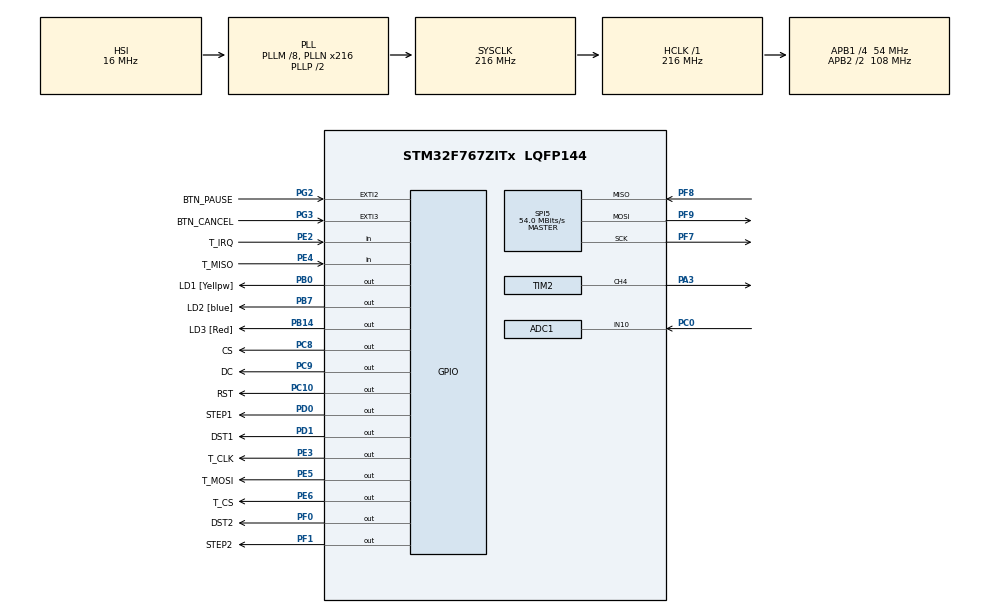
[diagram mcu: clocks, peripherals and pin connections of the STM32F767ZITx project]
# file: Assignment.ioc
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ADC1.Channel-0\#ChannelRegularConversion=ADC_CHANNEL_10
ADC1.ContinuousConvMode=ENABLE
ADC1.EOCSelection=ADC_EOC_SINGLE_CONV
ADC1.NbrOfConversionFlag=1
ADC1.Rank-0\#ChannelRegularConversion=1
ADC1.Resolution=ADC_RESOLUTION_12B
ADC1.SamplingTime-0\#ChannelRegularConversion=ADC_SAMPLETIME_480CYCLES
ADC1.master=1
CORTEX_M7.ART_ACCELERATOR_ENABLE=1
CORTEX_M7.CPU_DCache=Enabled
CORTEX_M7.CPU_ICache=Enabled
CORTEX_M7.PREFETCH_ENABLE=1
Mcu.Family=STM32F7
Mcu.Name=STM32F767ZITx
Mcu.Package=LQFP144
NVIC.ADC_IRQn=true\:0\:0\:false\:false\:true\:true\:true\:true
NVIC.EXTI2_IRQn=true\:0\:0\:false\:false\:true\:true\:true\:true
NVIC.EXTI3_IRQn=true\:0\:0\:false\:false\:true\:true\:true\:true
NVIC.PriorityGroup=NVIC_PRIORITYGROUP_4
PA3.GPIO_Speed=GPIO_SPEED_FREQ_VERY_HIGH
PA3.Signal=S_TIM2_CH4
PB0.GPIO_Label=LD1 [Yellpw]
PB0.Signal=GPIO_Output
PB14.GPIO_Label=LD3 [Red]
PB14.Signal=GPIO_Output
PB7.GPIO_Label=LD2 [blue]
PB7.Signal=GPIO_Output
PC0.Signal=ADCx_IN10
PC10.GPIO_Label=RST
PC10.GPIO_Speed=GPIO_SPEED_FREQ_VERY_HIGH
PC10.Signal=GPIO_Output
PC8.GPIO_Label=CS
PC8.GPIO_Speed=GPIO_SPEED_FREQ_VERY_HIGH
PC8.Signal=GPIO_Output
PC9.GPIO_Label=DC
PC9.GPIO_Speed=GPIO_SPEED_FREQ_VERY_HIGH
PC9.Signal=GPIO_Output
PD0.GPIO_Label=STEP1
PD0.Signal=GPIO_Output
PD1.GPIO_Label=DST1
PD1.Signal=GPIO_Output
PE2.GPIO_Label=T_IRQ
PE2.Signal=GPIO_Input
PE3.GPIO_Label=T_CLK
PE3.GPIO_Speed=GPIO_SPEED_FREQ_VERY_HIGH
PE3.Signal=GPIO_Output
PE4.GPIO_Label=T_MISO
PE4.Signal=GPIO_Input
PE5.GPIO_Label=T_MOSI
PE5.GPIO_Speed=GPIO_SPEED_FREQ_VERY_HIGH
PE5.Signal=GPIO_Output
PE6.GPIO_Label=T_CS
PE6.GPIO_Speed=GPIO_SPEED_FREQ_VERY_HIGH
PE6.Signal=GPIO_Output
PF0.GPIO_Label=DST2
PF0.Signal=GPIO_Output
PF1.GPIO_Label=STEP2
PF1.Signal=GPIO_Output
PF7.Mode=Full_Duplex_Master
PF7.Signal=SPI5_SCK
PF8.Mode=Full_Duplex_Master
PF8.Signal=SPI5_MISO
PF9.Mode=Full_Duplex_Master
PF9.Signal=SPI5_MOSI
PG2.GPIO_Label=BTN_PAUSE
PG2.GPIO_ModeDefaultEXTI=GPIO_MODE_IT_FALLING
PG2.Signal=GPXTI2
PG3.GPIO_Label=BTN_CANCEL
PG3.GPIO_ModeDefaultEXTI=GPIO_MODE_IT_FALLING
PG3.Signal=GPXTI3
ProjectManager.HeapSize=0x200
ProjectManager.StackSize=0x400
ProjectManager.TargetToolchain=STM32CubeIDE
RCC.AHBFreq_Value=216000000
RCC.APB1CLKDivider=RCC_HCLK_DIV4
RCC.APB1Freq_Value=54000000
RCC.APB1TimFreq_Value=108000000
RCC.APB2CLKDivider=RCC_HCLK_DIV2
RCC.APB2Freq_Value=108000000
RCC.APB2TimFreq_Value=216000000
RCC.CortexFreq_Value=216000000
RCC.HCLKFreq_Value=216000000
RCC.HSE_VALUE=25000000
RCC.HSI_VALUE=16000000
RCC.LSE_VALUE=32768
RCC.PLLM=8
RCC.PLLN=216
RCC.SYSCLKFreq_VALUE=216000000
RCC.SYSCLKSource=RCC_SYSCLKSOURCE_PLLCLK
RCC.USBFreq_Value=216000000
RCC.VCOOutputFreq_Value=432000000
SH.ADCx_IN10.0=ADC1_IN10,IN10
SH.S_TIM2_CH4.0=TIM2_CH4,PWM Generation4 CH4
SPI5.CalculateBaudRate=54.0 MBits/s
SPI5.DataSize=SPI_DATASIZE_8BIT
SPI5.Direction=SPI_DIRECTION_2LINES
SPI5.Mode=SPI_MODE_MASTER
SPI5.NSSPMode=SPI_NSS_PULSE_DISABLE
SPI5.VirtualType=VM_MASTER
TIM1.Prescaler=216-1
TIM2.Channel-PWM\ Generation4\ CH4=TIM_CHANNEL_4
TIM2.Period=1000-1
TIM2.Prescaler=2160-1
TIM2.Pulse-PWM\ Generation4\ CH4=0
VP_TIM1_VS_ClockSourceINT.Mode=Internal
VP_TIM2_VS_ClockSourceINT.Mode=Internal
board=custom

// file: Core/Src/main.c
/* USER CODE BEGIN Header */
/**
  ******************************************************************************
  * @file           : main.c
  * @brief          : Main program body
  ******************************************************************************
  * @attention
  *
  * Copyright (c) 2023 STMicroelectronics.
  * All rights reserved.
  *
  * This software is licensed under terms that can be found in the LICENSE file
  * in the root directory of this software component.
  * If no LICENSE file comes with this software, it is provided AS-IS.
  *
  ******************************************************************************
  */
/* USER CODE END Header */
#include "main.h"
#include "adc.h"
#include "spi.h"
#include "tim.h"
#include "gpio.h"

/* USER CODE BEGIN Includes */

#include "stdio.h"
#include "string.h"

#include "ILI9341_Touchscreen.h"
#include "ILI9341_STM32_Driver.h"
#include "ILI9341_GFX.h"

/* USER CODE END Includes */

/* USER CODE BEGIN PD */

#define STEP1_PORT GPIOD
#define STEP1_PIN GPIO_PIN_0
#define DIR1_PORT GPIOD
#define DIR1_PIN GPIO_PIN_1

#define STEP2_PORT GPIOF
#define STEP2_PIN GPIO_PIN_1
#define DIR2_PORT GPIOF
#define DIR2_PIN GPIO_PIN_0

#define mmPerStep 0.15096

uint32_t currentMillis;
uint32_t previousMillis;

uint8_t start = 0;
uint8_t ok = 0;
uint8_t cancel = 0;
uint8_t pause = 0;
uint8_t touch = 0;

int adc_val = 0;

/* USER CODE END PD */

void SystemClock_Config(void);
/* USER CODE BEGIN PFP */
int map(int, int, int, int, int);
void delayMicro(uint16_t);
void step1(int, uint8_t);
void step2(int, uint8_t);
int numpad(int, char*);
void textStatus(char*);
/* USER CODE END PFP */

/* USER CODE BEGIN 0 */
int map(int val, int in_min, int in_max, int out_min, int out_max) {
    return (val - in_min) * (out_max - out_min) / (in_max - in_min) + out_min;
}
void delayMicro(uint16_t us)
{
	__HAL_TIM_SET_COUNTER(&htim1,0);  // set the counter value a 0
	while (__HAL_TIM_GET_COUNTER(&htim1) < us);  // wait for the counter to reach the us input in the parameter
}
void step1(int steps, uint8_t direction)
{
	int stepsToTake = steps/mmPerStep;

	if (direction == 0) HAL_GPIO_WritePin(DIR1_PORT, DIR1_PIN, GPIO_PIN_SET);
	else HAL_GPIO_WritePin(DIR1_PORT, DIR1_PIN, GPIO_PIN_RESET);
	for(int i = 0; i < stepsToTake; i+=1)
	{
		if(cancel == 1) break;
		while(pause == 1);
		HAL_GPIO_WritePin(STEP1_PORT, STEP1_PIN, GPIO_PIN_SET);
		delayMicro(adc_val);
		HAL_GPIO_WritePin(STEP1_PORT, STEP1_PIN, GPIO_PIN_RESET);
		delayMicro(adc_val);
	}
}
void step2(int steps, uint8_t direction)
{
	int stepsToTake = steps;

	if (direction == 0) HAL_GPIO_WritePin(DIR2_PORT, DIR2_PIN, GPIO_PIN_SET);
	else HAL_GPIO_WritePin(DIR2_PORT, DIR2_PIN, GPIO_PIN_RESET);
	for(int i = 0; i < stepsToTake; i+=1)
	{
		if(cancel == 1) break;
		while(pause == 1);
		HAL_GPIO_WritePin(STEP2_PORT, STEP2_PIN, GPIO_PIN_SET);
		delayMicro(adc_val);
		HAL_GPIO_WritePin(STEP2_PORT, STEP2_PIN, GPIO_PIN_RESET);
		delayMicro(adc_val);
	}
}
int numpad(int val, char* title)
{
	int num = val;
	// WireLength1
	//					  ILI9341_Draw_Filled_Rectangle_Coord(15, 75, 60, 100, BLACK);
	// Container
	ILI9341_Draw_Filled_Rectangle_Coord(35, 15, 235, 230, 0xA514);
	// Title
	ILI9341_Draw_Text(title, 45, 20, BLACK, 2, 0xA514);
	// NumPad 1 2 3
	ILI9341_Draw_Hollow_Rectangle_Coord(45, 75, 103, 100, BLACK);
	ILI9341_Draw_Text("1", 71, 80, BLACK, 2, 0xA514);
	ILI9341_Draw_Hollow_Rectangle_Coord(108, 75, 166, 100, BLACK);
	ILI9341_Draw_Text("2", 133, 80, BLACK, 2, 0xA514);
	ILI9341_Draw_Hollow_Rectangle_Coord(171, 75, 224, 100, BLACK);
	ILI9341_Draw_Text("3", 194, 80, BLACK, 2, 0xA514);
	// NumPad 4 5 6
	ILI9341_Draw_Hollow_Rectangle_Coord(45, 105, 103, 130, BLACK);
	ILI9341_Draw_Text("4", 69, 110, BLACK, 2, 0xA514);
	ILI9341_Draw_Hollow_Rectangle_Coord(108, 105, 166, 130, BLACK);
	ILI9341_Draw_Text("5", 133, 110, BLACK, 2, 0xA514);
	ILI9341_Draw_Hollow_Rectangle_Coord(171, 105, 224, 130, BLACK);
	ILI9341_Draw_Text("6", 194, 110, BLACK, 2, 0xA514);
	// NumPad 7 8 9
	ILI9341_Draw_Hollow_Rectangle_Coord(45, 135, 103, 160, BLACK);
	ILI9341_Draw_Text("7", 69, 140, BLACK, 2, 0xA514);
	ILI9341_Draw_Hollow_Rectangle_Coord(108, 135, 166, 160, BLACK);
	ILI9341_Draw_Text("8", 133, 140, BLACK, 2, 0xA514);
	ILI9341_Draw_Hollow_Rectangle_Coord(171, 135, 224, 160, BLACK);
	ILI9341_Draw_Text("9", 194, 140, BLACK, 2, 0xA514);
	// NumPad 0 del
	ILI9341_Draw_Hollow_Rectangle_Coord(45, 165, 166, 190, BLACK);
	ILI9341_Draw_Text("0", 100, 170, BLACK, 2, 0xA514);
	ILI9341_Draw_Hollow_Rectangle_Coord(171, 165, 224, 190, BLACK);
	ILI9341_Draw_Text("DEL", 181, 170, BLACK, 2, 0xA514);
	// NumPad Cancel OK
	ILI9341_Draw_Filled_Rectangle_Coord(45, 195, 134, 220, 0xF800);
	ILI9341_Draw_Text("Cancel", 55, 200, WHITE, 2, 0xF800);
	ILI9341_Draw_Filled_Rectangle_Coord(139, 195, 224, 220, 0x0580);
	ILI9341_Draw_Text("OK", 171, 199, WHITE, 2, 0x0580);

	while(ok == 0 && cancel == 0)
	{
		// Number Monitor
		ILI9341_Draw_Filled_Rectangle_Coord(45, 40, 225, 70, WHITE);
		char valBuff[5];
		sprintf(valBuff, "%d", num);
		ILI9341_Draw_Text(valBuff, 55, 47, BLACK, 2, WHITE);
		while(ok == 0 && cancel == 0)
		{
			if(TP_Touchpad_Pressed())
			{
				uint16_t x_pos = 0;
			    uint16_t y_pos = 0;

			    uint16_t position_array[2];
				if(TP_Read_Coordinates(position_array) == TOUCHPAD_DATA_OK)
				{
					x_pos = position_array[1];
					y_pos = 240 - position_array[0];
					if(((x_pos >= 45)&&(x_pos <= 103)) && ((y_pos >= 75)&&(y_pos <= 100)) && touch == 0)
					{
					  // 1
					  num *= 10;
					  num += 1;
					  touch = 1;
					}
					else if(((x_pos >= 108)&&(x_pos <= 166)) && ((y_pos >= 75)&&(y_pos <= 100)) && touch == 0)
					{
					  // 2
					  num *= 10;
					  num += 2;
					  touch = 1;
					}
					else if(((x_pos >= 171)&&(x_pos <= 224)) && ((y_pos >= 75)&&(y_pos <= 100)) && touch == 0)
					{
					  // 3
					  num *= 10;
					  num += 3;
					  touch = 1;
					}
					else if(((x_pos >= 45)&&(x_pos <= 103)) && ((y_pos >= 105)&&(y_pos <= 130)) && touch == 0)
					{
					  // 4
					  num *= 10;
					  num += 4;
					  touch = 1;
					}
					else if(((x_pos >= 108)&&(x_pos <= 166)) && ((y_pos >= 105)&&(y_pos <= 130)) && touch == 0)
					{
					  // 5
					  num *= 10;
					  num += 5;
					  touch = 1;
					}
					else if(((x_pos >= 171)&&(x_pos <= 224)) && ((y_pos >= 105)&&(y_pos <= 130)) && touch == 0)
					{
					  // 6
					  num *= 10;
					  num += 6;
					  touch = 1;
					}
					else if(((x_pos >= 45)&&(x_pos <= 103)) && ((y_pos >= 135)&&(y_pos <= 160)) && touch == 0)
					{
					  // 7
					  num *= 10;
					  num += 7;
					  touch = 1;
					}
					else if(((x_pos >= 108)&&(x_pos <= 166)) && ((y_pos >= 135)&&(y_pos <= 160)) && touch == 0)
					{
					  // 8
					  num *= 10;
					  num += 8;
					  touch = 1;
					}
					else if(((x_pos >= 171)&&(x_pos <= 224)) && ((y_pos >= 135)&&(y_pos <= 160)) && touch == 0)
					{
					  // 9
					  num *= 10;
					  num += 9;
					  touch = 1;
					}
					else if(((x_pos >= 45)&&(x_pos <= 166)) && ((y_pos >= 165)&&(y_pos <= 190)) && touch == 0)
					{
					  // 0
					  num *= 10;
					  num += 0;
					  touch = 1;
					}
					else if(((x_pos >= 171)&&(x_pos <= 224)) && ((y_pos >= 165)&&(y_pos <= 190)) && touch == 0)
					{
					  // DEL
					  num /= 10;
					  touch = 1;
					}
					else if(((x_pos >= 45)&&(x_pos <= 134)) && ((y_pos >= 195)&&(y_pos <= 220)) && touch == 0)
					{
					  // CANCEL
					  touch = 1;
					  cancel = 1;
					  return val;
					}
					else if(((x_pos >= 139)&&(x_pos <= 224)) && ((y_pos >= 195)&&(y_pos <= 220)) && touch == 0)
					{
					  // OK
					  touch = 1;
					  ok = 1;
					}
				}break;
			}else touch = 0;
		}
	}
	if(ok == 1) return num;
	if(cancel == 1) return val;
	return 0;
}
void textStatus(char* text)
{
	ILI9341_Draw_Filled_Rectangle_Coord(110, 140, 230, 162, WHITE);
	ILI9341_Draw_Text(text, 115, 145, BLACK, 2, WHITE);
}
/* USER CODE END 0 */

int main(void)
{

  /* Enable I-Cache---------------------------------------------------------*/
  SCB_EnableICache();

  /* Enable D-Cache---------------------------------------------------------*/
  SCB_EnableDCache();

  /* MCU Configuration--------------------------------------------------------*/

  /* Reset of all peripherals, Initializes the Flash interface and the Systick. */
  HAL_Init();

  /* Configure the system clock */
  SystemClock_Config();

  /* Initialize all configured peripherals */
  MX_GPIO_Init();
  MX_TIM1_Init();
  MX_ADC1_Init();
  MX_TIM2_Init();
  MX_SPI5_Init();
  /* USER CODE BEGIN 2 */

  ILI9341_Init(); //initial driver setup to drive ili9341

  HAL_TIM_Base_Start(&htim1);
  HAL_TIM_PWM_Start(&htim2, TIM_CHANNEL_4);
  HAL_ADC_Start_IT(&hadc1);

  int qty = 1;
  int wireLength1 = 10;
  int wireLength2 = 25;
  int wireLength3 = 10;

  htim2.Instance->CCR4 = 55;

  /* USER CODE END 2 */

  /* Infinite loop */
  while (1)
  {

    /* USER CODE BEGIN 3 */
	  ILI9341_Fill_Screen(WHITE);
	  ILI9341_Set_Rotation(SCREEN_HORIZONTAL_1);
	  ILI9341_Draw_Text("WIRE CUTTER &", 10, 10, BLACK, 2, WHITE);
	  ILI9341_Draw_Text("STRIPPER MACHINE", 10, 25, BLACK, 2, WHITE);

	  ILI9341_Draw_Filled_Rectangle_Coord(20, 55, 255, 60, 0xE3E9);

	  ILI9341_Draw_Filled_Rectangle_Coord(20, 50, 55, 65, 0x5BFF);
	  ILI9341_Draw_Filled_Rectangle_Coord(70, 50, 205, 65, 0x5BFF);
	  ILI9341_Draw_Filled_Rectangle_Coord(220, 50, 255, 65, 0x5BFF);

	  ILI9341_Draw_Filled_Rectangle_Coord(15, 75, 60, 100, 0xFFEE);
	  ILI9341_Draw_Filled_Rectangle_Coord(115, 75, 160, 100, 0xFFEE);
	  ILI9341_Draw_Filled_Rectangle_Coord(215, 75, 260, 100, 0xFFEE);

	  char wireBuff[5];
	  sprintf(wireBuff, "%03d", wireLength1);
	  ILI9341_Draw_Text(wireBuff, 20, 80, BLACK, 2, 0xFFEE);
//	  if(wireLength1 > 99) ILI9341_Draw_Text(wireBuff, 20, 80, BLACK, 2, 0xFFEE);
//	  else if(wireLength1 > 9) ILI9341_Draw_Text(wireBuff, 27, 80, BLACK, 2, 0xFFEE);
//	  else ILI9341_Draw_Text(wireBuff, 33, 80, BLACK, 2, 0xFFEE);
	  sprintf(wireBuff, "%03d", wireLength2);
	  ILI9341_Draw_Text(wireBuff, 120, 80, BLACK, 2, 0xFFEE);
//	  if(wireLength2 > 99) ILI9341_Draw_Text(wireBuff, 120, 80, BLACK, 2, 0xFFEE);
//	  else if(wireLength2 > 9) ILI9341_Draw_Text(wireBuff, 127, 80, BLACK, 2, 0xFFEE);
//	  else ILI9341_Draw_Text(wireBuff, 133, 80, BLACK, 2, 0xFFEE);
	  sprintf(wireBuff, "%03d", wireLength3);
	  ILI9341_Draw_Text(wireBuff, 220, 80, BLACK, 2, 0xFFEE);
//	  if(wireLength3 > 99) ILI9341_Draw_Text(wireBuff, 220, 80, BLACK, 2, 0xFFEE);
//	  else if(wireLength3 > 9) ILI9341_Draw_Text(wireBuff, 227, 80, BLACK, 2, 0xFFEE);
//	  else ILI9341_Draw_Text(wireBuff, 233, 80, BLACK, 2, 0xFFEE);

	  ILI9341_Draw_Text("***dimensions are in millimeters.", 10, 105, BLACK, 1, WHITE);

	  ILI9341_Draw_Text("QTY :", 10, 120, BLACK, 2, WHITE);
	  ILI9341_Draw_Filled_Rectangle_Coord(75, 115, 120, 140, 0xFFEE);
	  char qtyBuff[5];
	  sprintf(qtyBuff, "%03d", qty);
	  ILI9341_Draw_Text(qtyBuff, 80, 120, BLACK, 2, 0xFFEE);

	  ILI9341_Draw_Text("Stepper1 :", 10, 145, BLACK, 2, WHITE);
	  ILI9341_Draw_Hollow_Rectangle_Coord(140, 140, 185, 165, BLACK);
	  ILI9341_Draw_Text("<", 158, 145, BLACK, 2, WHITE);
	  ILI9341_Draw_Hollow_Rectangle_Coord(195, 140, 240, 165, BLACK);
	  ILI9341_Draw_Text(">", 215, 145, BLACK, 2, WHITE);

	  ILI9341_Draw_Text("Stepper2 :", 10, 175, BLACK, 2, WHITE);
	  ILI9341_Draw_Hollow_Rectangle_Coord(140, 170, 185, 195, BLACK);
	  ILI9341_Draw_Text("<", 158, 175, BLACK, 2, WHITE);
	  ILI9341_Draw_Hollow_Rectangle_Coord(195, 170, 240, 195, BLACK);
	  ILI9341_Draw_Text(">", 215, 175, BLACK, 2, WHITE);

	  ILI9341_Draw_Filled_Rectangle_Coord(70, 200, 205, 230, 0xF800);
	  ILI9341_Draw_Text("START", 110, 206, WHITE, 2, 0xF800);

	  while(start == 0)
	  {
		  if(TP_Touchpad_Pressed())
		  {
			  if(ok == 1 || cancel == 1) break;
			  uint16_t x_pos = 0;
			  uint16_t y_pos = 0;

			  uint16_t position_array[2];

			  HAL_GPIO_WritePin(GPIOB, GPIO_PIN_14|GPIO_PIN_7, GPIO_PIN_SET);

			  if(TP_Read_Coordinates(position_array) == TOUCHPAD_DATA_OK)
			  {
				  x_pos = position_array[1];
				  y_pos = 240 - position_array[0];

				  if(((x_pos >= 15)&&(x_pos <= 60)) && ((y_pos >= 75)&&(y_pos <= 100)) && touch == 0)
				  {
					  // WireLength1
					  touch = 1;
					  wireLength1 = numpad(wireLength1, "Wire Length 1");
				  }
				  else if(((x_pos >= 115)&&(x_pos <= 160)) && ((y_pos >= 75)&&(y_pos <= 100)) && touch == 0)
				  {
					  // WireLength2
					  touch = 1;
					  wireLength2 = numpad(wireLength2, "Wire Length 2");
				  }
				  else if(((x_pos >= 215)&&(x_pos <= 260)) && ((y_pos >= 75)&&(y_pos <= 100)) && touch == 0)
				  {
					  // WireLength3
					  touch = 1;
					  wireLength3 = numpad(wireLength3, "Wire Length 3");
				  }
				  else if(((x_pos >= 75)&&(x_pos <= 120)) && ((y_pos >= 115)&&(y_pos <= 140)) && touch == 0)
				  {
					  // QTY
					  touch = 1;
					  qty = numpad(qty, "QUANTITY");
				  }
				  else if(((x_pos >= 140)&&(x_pos <= 185)) && ((y_pos >= 140)&&(y_pos <= 165)) && touch == 0)
				  {
					  // Stepper1 <
					  while(TP_Touchpad_Pressed())
					  {
						  HAL_GPIO_WritePin(DIR1_PORT, DIR1_PIN, GPIO_PIN_RESET);
						  HAL_GPIO_WritePin(STEP1_PORT, STEP1_PIN, GPIO_PIN_SET);
						  delayMicro(adc_val);
						  HAL_GPIO_WritePin(STEP1_PORT, STEP1_PIN, GPIO_PIN_RESET);
						  delayMicro(adc_val);
					  }
				  }
				  else if(((x_pos >= 195)&&(x_pos <= 240)) && ((y_pos >= 140)&&(y_pos <= 165)) && touch == 0)
				  {
					  // Stepper1 >
					  while(TP_Touchpad_Pressed())
					  {
						  HAL_GPIO_WritePin(DIR1_PORT, DIR1_PIN, GPIO_PIN_SET);
						  HAL_GPIO_WritePin(STEP1_PORT, STEP1_PIN, GPIO_PIN_SET);
						  delayMicro(adc_val);
						  HAL_GPIO_WritePin(STEP1_PORT, STEP1_PIN, GPIO_PIN_RESET);
						  delayMicro(adc_val);
					  }
				  }
				  else if(((x_pos >= 140)&&(x_pos <= 185)) && ((y_pos >= 170)&&(y_pos <= 195)) && touch == 0)
				  {
					  // Stepper2 <
					  while(TP_Touchpad_Pressed())
					  {
						  HAL_GPIO_WritePin(DIR2_PORT, DIR2_PIN, GPIO_PIN_RESET);
						  HAL_GPIO_WritePin(STEP2_PORT, STEP2_PIN, GPIO_PIN_SET);
						  delayMicro(adc_val);
						  HAL_GPIO_WritePin(STEP2_PORT, STEP2_PIN, GPIO_PIN_RESET);
						  delayMicro(adc_val);
					  }
				  }
				  else if(((x_pos >= 195)&&(x_pos <= 240)) && ((y_pos >= 170)&&(y_pos <= 195)) && touch == 0)
				  {
					  // Stepper2 >
					  while(TP_Touchpad_Pressed())
					  {
						  HAL_GPIO_WritePin(DIR2_PORT, DIR2_PIN, GPIO_PIN_SET);
						  HAL_GPIO_WritePin(STEP2_PORT, STEP2_PIN, GPIO_PIN_SET);
						  delayMicro(adc_val);
						  HAL_GPIO_WritePin(STEP2_PORT, STEP2_PIN, GPIO_PIN_RESET);
						  delayMicro(adc_val);
					  }
				  }
				  else if(((x_pos >= 70)&&(x_pos <= 205)) && ((y_pos >= 200)&&(y_pos <= 230)) && touch == 0)
				  {
					  // Start
					  touch = 1;
					  ILI9341_Draw_Filled_Rectangle_Coord(70, 200, 205, 230, BLACK);
					  start = 1;
				  }
			  }
		  } else touch = 0;
		  pause = 0;
		  cancel = 0;
	  }

	  if(start == 1)
	  {
		  ILI9341_Fill_Screen(WHITE);
		  ILI9341_Draw_Text("WIRE CUTTER &", 10, 10, BLACK, 2, WHITE);
		  ILI9341_Draw_Text("STRIPPER MACHINE", 10, 25, BLACK, 2, WHITE);

		  ILI9341_Draw_Filled_Rectangle_Coord(20, 55, 255, 60, 0xE3E9);

		  ILI9341_Draw_Filled_Rectangle_Coord(20, 50, 55, 65, 0x5BFF);
		  ILI9341_Draw_Filled_Rectangle_Coord(70, 50, 205, 65, 0x5BFF);
		  ILI9341_Draw_Filled_Rectangle_Coord(220, 50, 255, 65, 0x5BFF);

		  ILI9341_Draw_Filled_Rectangle_Coord(15, 75, 60, 100, 0xFFEE);
		  ILI9341_Draw_Filled_Rectangle_Coord(115, 75, 160, 100, 0xFFEE);
		  ILI9341_Draw_Filled_Rectangle_Coord(215, 75, 260, 100, 0xFFEE);

		  char wireBuff[5];
		  sprintf(wireBuff, "%03d", wireLength1);
		  ILI9341_Draw_Text(wireBuff, 20, 80, BLACK, 2, 0xFFEE);
		  sprintf(wireBuff, "%03d", wireLength2);
		  ILI9341_Draw_Text(wireBuff, 120, 80, BLACK, 2, 0xFFEE);
		  sprintf(wireBuff, "%03d", wireLength3);
		  ILI9341_Draw_Text(wireBuff, 220, 80, BLACK, 2, 0xFFEE);

		  ILI9341_Draw_Text("***dimensions are in millimeters.", 10, 105, BLACK, 1, WHITE);

		  ILI9341_Draw_Text("QTY :", 10, 120, BLACK, 2, WHITE);
		  ILI9341_Draw_Filled_Rectangle_Coord(75, 115, 120, 140, 0xFFEE);
		  char qtyBuff[5];
		  sprintf(qtyBuff, "%03d", qty);
		  ILI9341_Draw_Text(qtyBuff, 80, 120, BLACK, 2, 0xFFEE);
		  ILI9341_Draw_Text("Status :", 10, 145, BLACK, 2, WHITE);
		  ILI9341_Draw_Text("Running", 115, 145, BLACK, 2, WHITE);
		  ILI9341_Draw_Text("Finished QTY :", 10, 170, BLACK, 2, WHITE);
		  ILI9341_Draw_Filled_Rectangle_Coord(187, 165, 227, 190, 0xFFEE);

		  char buff[5];
		  int i = 0;
		  uint8_t work = 0;
		  for(i = 0; i < qty && cancel == 0; i+=1)
		  {
			  work = 0;
			  sprintf(buff, "%03d", i);
			  ILI9341_Draw_Text(buff, 190, 170, BLACK, 2, 0xFFEE);

			  step1(wireLength1, 0);
			  if(wireLength1 > 0)
			  {
				  step2(200, 0);
			  }

			  step1(wireLength2, 0);
			  if(wireLength3 > 0)
			  {
				  step2(200, 0);
			  }

			  step1(wireLength3, 0);
			  htim2.Instance->CCR4 = 62;
			  HAL_Delay(2000);
			  step2(200, 0);
			  htim2.Instance->CCR4 = 55;
			  HAL_Delay(2000);
			  work = 1;
		  }
		  if(i == qty && work == 1)
		  {
			  sprintf(buff, "%03d", i);
			  ILI9341_Draw_Text(buff, 190, 170, BLACK, 2, 0xFFEE);
			  textStatus("Complete");
		  }
		  else
		  {
			  sprintf(buff, "%03d", i);
			  ILI9341_Draw_Text(buff, 190, 170, BLACK, 2, 0xFFEE);
		  }
		  ILI9341_Draw_Text("---Press Any to Continue---", 70, 205, BLACK, 1, WHITE);
	  }

	  htim2.Instance->CCR4 = 55;
	  ok = 0;
	  cancel = 0;
	  start = 0;
	  pause = 0;

	  while(1)
	  {
		  if(TP_Touchpad_Pressed())
		  {
			  break;
		  }
	  }

  }
  /* USER CODE END 3 */
}

void SystemClock_Config(void)
{
  RCC_OscInitTypeDef RCC_OscInitStruct = {0};
  RCC_ClkInitTypeDef RCC_ClkInitStruct = {0};

  /** Configure the main internal regulator output voltage
  */
  __HAL_RCC_PWR_CLK_ENABLE();
  __HAL_PWR_VOLTAGESCALING_CONFIG(PWR_REGULATOR_VOLTAGE_SCALE1);

  /** Initializes the RCC Oscillators according to the specified parameters
  * in the RCC_OscInitTypeDef structure.
  */
  RCC_OscInitStruct.OscillatorType = RCC_OSCILLATORTYPE_HSI;
  RCC_OscInitStruct.HSIState = RCC_HSI_ON;
  RCC_OscInitStruct.HSICalibrationValue = RCC_HSICALIBRATION_DEFAULT;
  RCC_OscInitStruct.PLL.PLLState = RCC_PLL_ON;
  RCC_OscInitStruct.PLL.PLLSource = RCC_PLLSOURCE_HSI;
  RCC_OscInitStruct.PLL.PLLM = 8;
  RCC_OscInitStruct.PLL.PLLN = 216;
  RCC_OscInitStruct.PLL.PLLP = RCC_PLLP_DIV2;
  RCC_OscInitStruct.PLL.PLLQ = 2;
  RCC_OscInitStruct.PLL.PLLR = 2;
  if (HAL_RCC_OscConfig(&RCC_OscInitStruct) != HAL_OK)
  {
    Error_Handler();
  }

  /** Activate the Over-Drive mode
  */
  if (HAL_PWREx_EnableOverDrive() != HAL_OK)
  {
    Error_Handler();
  }

  /** Initializes the CPU, AHB and APB buses clocks
  */
  RCC_ClkInitStruct.ClockType = RCC_CLOCKTYPE_HCLK|RCC_CLOCKTYPE_SYSCLK
                              |RCC_CLOCKTYPE_PCLK1|RCC_CLOCKTYPE_PCLK2;
  RCC_ClkInitStruct.SYSCLKSource = RCC_SYSCLKSOURCE_PLLCLK;
  RCC_ClkInitStruct.AHBCLKDivider = RCC_SYSCLK_DIV1;
  RCC_ClkInitStruct.APB1CLKDivider = RCC_HCLK_DIV4;
  RCC_ClkInitStruct.APB2CLKDivider = RCC_HCLK_DIV2;

  if (HAL_RCC_ClockConfig(&RCC_ClkInitStruct, FLASH_LATENCY_7) != HAL_OK)
  {
    Error_Handler();
  }
}

/* USER CODE BEGIN 4 */

void HAL_ADC_ConvCpltCallback(ADC_HandleTypeDef *hadc)
{

}

/* USER CODE END 4 */

void Error_Handler(void)
{
  __disable_irq();
  while (1)
  {
  }
}
